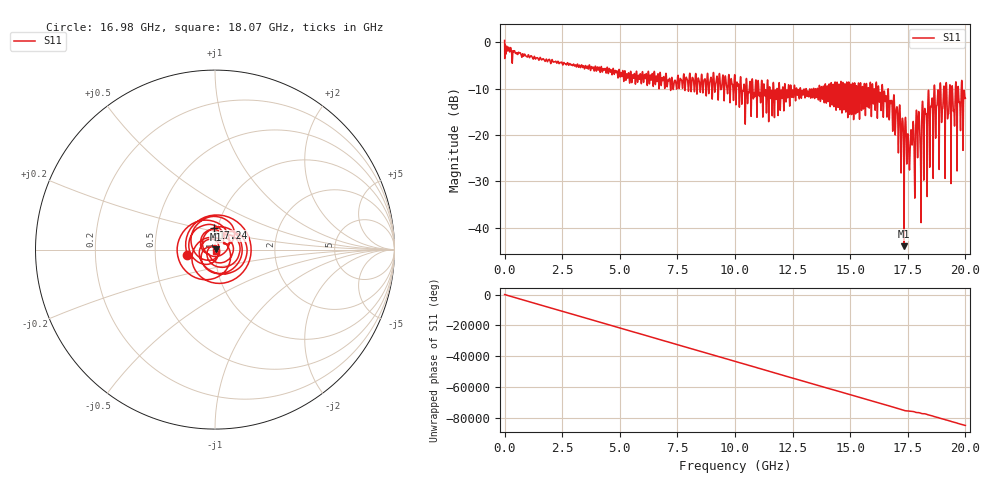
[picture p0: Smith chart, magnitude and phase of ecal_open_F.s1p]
! MS46122B
! 2250307/22442219
! 7/28/2025 7:57:39 AM
! C:\USERS\SPARKY\DOCUMENTS\VNA_DATA\JULY28_2025\295K\ECAL_OPEN_F.S1P
! CHANNEL.1
! TR.MEASUREMENT
! RAW.DATA
# GHZ S RI R 50.0
! FREQ.GHZ  S11RE  S11IM
!; PortSelection: Port_1
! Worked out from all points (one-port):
!   10001 points, 1 MHz to 20 GHz, reference 50 ohm
!   lowest |S11| = -44.0 dB at 17.34 GHz (marker M1), VSWR 1.01, Z = 50.6 + j0.252 ohm
!   |S11| at or under -10 dB: 12.84 GHz to 13.08 GHz (236.1 MHz wide, 1.82 % of centre); 13.08 GHz to 13.41 GHz (321.7 MHz wide, 2.43 % of centre); 16.41 GHz to 18.64 GHz (2.234 GHz wide, 12.8 % of centre) (the widest 3 of 87)
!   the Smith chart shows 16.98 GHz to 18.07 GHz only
!   S11 on the Smith chart (normalised r, x): 16.98 GHz: 0.73, -0.04; 17.24 GHz: 0.96, +0.23; 18.07 GHz: 1.01, -0.02
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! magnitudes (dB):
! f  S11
! 1 MHz  0.4
! 2.501 GHz  -4.5
! 5.001 GHz  -7.0
! 7.501 GHz  -8.0
! 10 GHz  -7.3
! 11.54 GHz  -12.1
! 12.5 GHz  -10.3
! 15 GHz  -11.3
! 16.31 GHz  -10.9
! 16.98 GHz  -16.2
! 17.24 GHz  -18.4
! 17.34 GHz  -44.0
! 17.5 GHz  -19.8
! 17.86 GHz  -16.2
! 17.93 GHz  -23.5
! 18 GHz  -16.4
! 18.07 GHz  -38.9
! 18.12 GHz  -14.4
! 18.2 GHz  -22.9
! 18.27 GHz  -15.3
! 18.32 GHz  -19.5
! 18.73 GHz  -15.9
! 18.78 GHz  -12.4
! 19.25 GHz  -15.3
! 19.45 GHz  -12.1
! 19.51 GHz  -14.9
! 19.56 GHz  -11.4
! 20 GHz  -12.1
